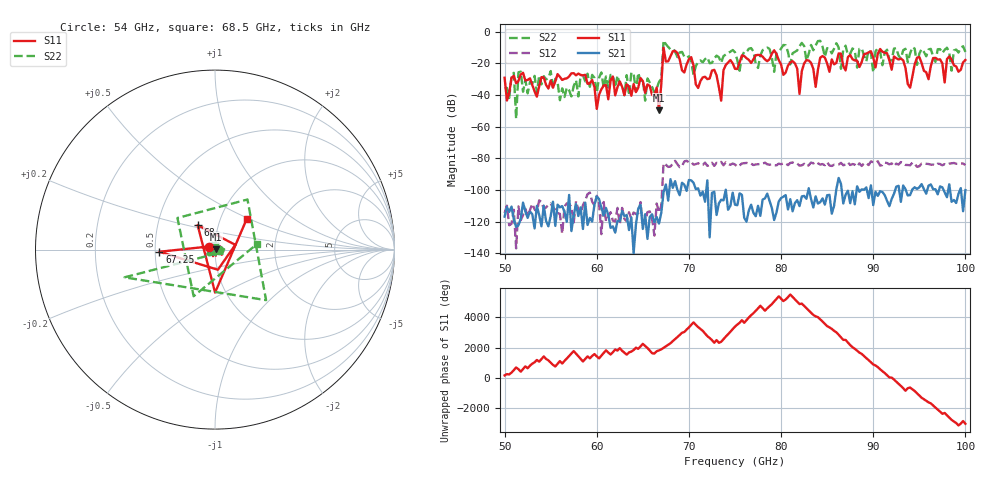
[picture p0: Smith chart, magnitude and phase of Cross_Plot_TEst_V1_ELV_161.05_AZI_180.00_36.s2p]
! 11/25/2026 1:32:08 PM
! C:\ANRITSUVNA\TEMP\TEMP.S2P
! CHANNEL.1
! TR.MEASUREMENT
! RAW.DATA
# HZ S RI R 50.0
! FREQ.HZ  S11RE  S11IM  S21RE  S21IM  S12RE  S12IM  S22RE  S22IM
!; PortSelection: Port_12
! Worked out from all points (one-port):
!   201 points, 50 GHz to 100 GHz, reference 50 ohm
!   lowest |S11| = -49.7 dB at 66.75 GHz (marker M1), VSWR 1.01, Z = 50.3 + j0.0725 ohm
!   |S11| at or under -10 dB: start of sweep to end of sweep
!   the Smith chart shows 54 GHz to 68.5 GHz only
!   S11 on the Smith chart (normalised r, x): 54 GHz: 0.93, +0.03; 67.25 GHz: 0.53, -0.01; 68 GHz: 0.80, +0.22; 68.5 GHz: 1.33, +0.49
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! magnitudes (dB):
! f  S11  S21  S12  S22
! 50 GHz  -29.1  -116.9  -114.6  -35.5
! 51 GHz  -27.9  -118.9  -112.6  -26.0
! 51.25 GHz  -32.6  -123.5  -137.0  -55.1
! 51.5 GHz  -31.2  -122.4  -110.5  -25.7
! 54 GHz  -28.7  -123.0  -107.6  -33.3
! 58.5 GHz  -27.6  -124.7  -109.6  -27.6
! 60 GHz  -48.8  -104.1  -103.7  -38.5
! 61.75 GHz  -28.4  -123.0  -119.5  -27.7
! 66.75 GHz  -49.7  -121.3  -114.3  -31.9
! 67.25 GHz  -10.2  -101.4  -83.2  -5.6
! 68 GHz  -15.5  -93.2  -85.2  -11.3
! 68.5 GHz  -12.1  -94.4  -81.6  -12.6
! 73.5 GHz  -43.6  -106.2  -82.3  -19.7
! 73.75 GHz  -24.4  -106.6  -84.5  -15.4
! 75 GHz  -23.5  -109.4  -83.9  -13.0
! 79.25 GHz  -11.8  -119.0  -84.4  -25.4
! 82 GHz  -39.3  -110.2  -84.7  -9.2
! 83.5 GHz  -23.5  -111.1  -83.3  -11.8
! 91.75 GHz  -18.1  -110.3  -83.9  -17.6
! 94 GHz  -35.4  -103.3  -84.5  -13.7
! 94.75 GHz  -16.5  -99.4  -85.4  -21.0
! 100 GHz  -17.9  -100.1  -84.3  -12.8
